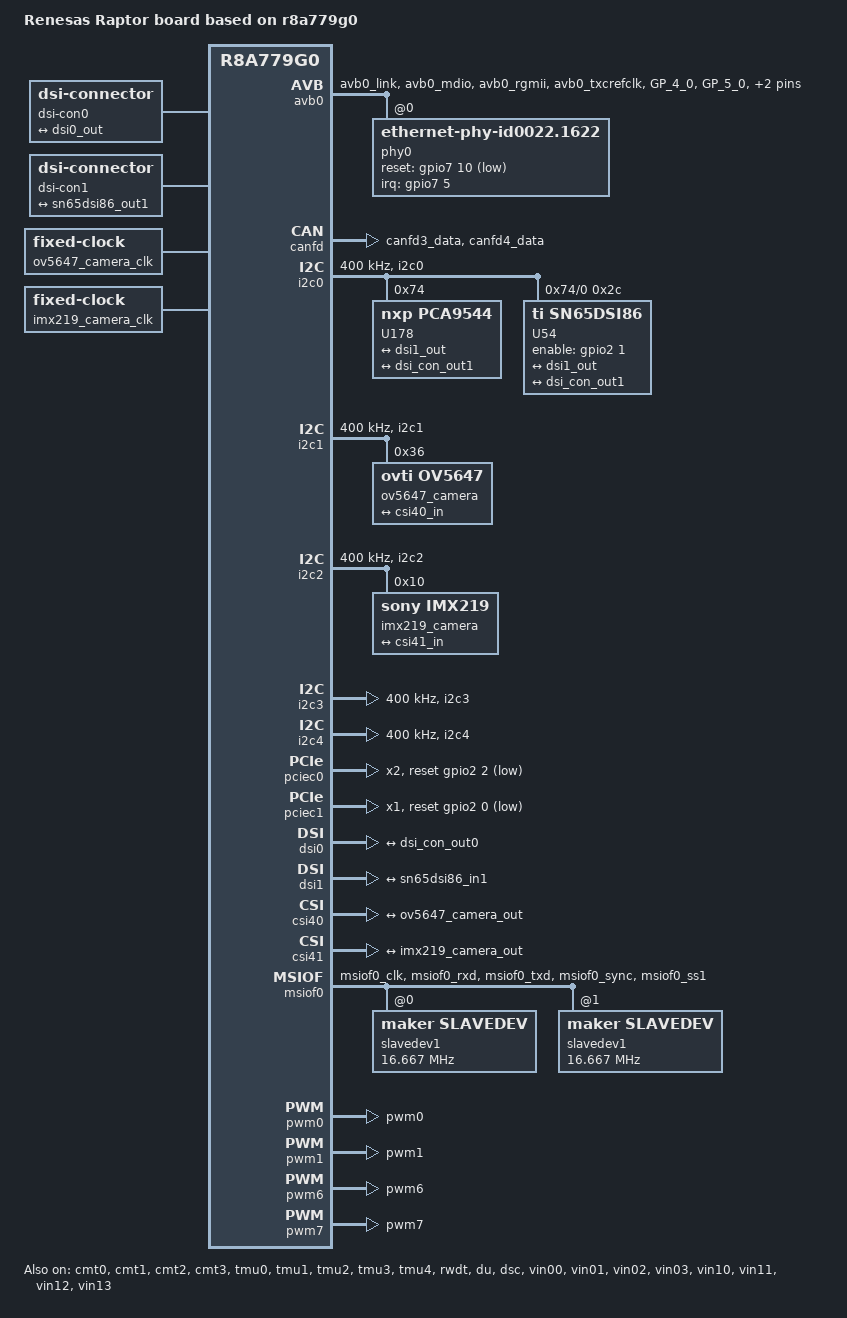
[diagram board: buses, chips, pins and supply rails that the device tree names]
// SPDX-License-Identifier: GPL-2.0
/*
 * Device Tree Source for the SBC boards with R-Car V4H
 *
 * Copyright (C) 2021 Renesas Electronics Corp.
 */

/dts-v1/;
#include "r8a779g0-sbc-cpu.dtsi"
#include <dt-bindings/media/r8a779g0-csi2.h>

/ {
	model = "Renesas Raptor board based on r8a779g0";
	compatible = "renesas,raptor-cpu", "renesas,r8a779g0";

	aliases {
		ethernet0 = &avb0;
	};

	reserved-memory {
		#address-cells = <2>;
		#size-cells = <2>;
		ranges;

		vdsp0_region: linux,vdsp0_region@5d000000 {
			compatible = "shared-dma-pool";
			reusable;
			reg = <0x00000000 0x5d000000 0x0 0x00800000>;
		};

		vdsp1_region: linux,vdsp1_region@5d800000 {
			compatible = "shared-dma-pool";
			reusable;
			reg = <0x00000000 0x5d800000 0x0 0x00800000>;
		};

		vdsp2_region: linux,vdsp2_region@5e000000 {
			compatible = "shared-dma-pool";
			reusable;
			reg = <0x00000000 0x5e000000 0x0 0x00800000>;
		};

		vdsp3_region: linux,vdsp3_region@5e800000 {
			compatible = "shared-dma-pool";
			reusable;
			reg = <0x00000000 0x5e800000 0x0 0x00800000>;
		};

		pap_region: linux,pap_region@5f000000 {
			compatible = "shared-dma-pool";
			reusable;
			reg = <0x00000000 0x5f000000 0x0 0x00400000>;
		};

		/* region for cr core application */
		cr_region: linux,cr_region@60000000 {
			no-map;
			reg = <0x00000000 0x60000000 0x0 0x20000000>;
		};

		/* global autoconfigured region for contiguous allocations */
		linux,cma@80000000 {
			compatible = "shared-dma-pool";
			reusable;
			reg = <0x00000000 0x80000000 0x0 0x23000000>;
			linux,cma-default;
		};

		region_40bit: linux,region_40bit@600000000 {
			compatible = "shared-dma-pool";
			reusable;
			reg = <0x6 0x00000000 0x0 0x40000000>;
		};
	};

	dsi-con0 {
		compatible = "dsi-connector";

		port {
			dsi_con_out0: endpoint {
			remote-endpoint = <&dsi0_out>;
			};
		};
	};

	dsi-con1 {
		compatible = "dsi-connector";

		port {
			dsi_con_out1: endpoint {
			remote-endpoint = <&sn65dsi86_out1>;
			};
		};
	};

	cmem {
		memory-region = <&vdsp0_region>, <&vdsp1_region>,
				<&vdsp2_region>, <&vdsp3_region>,
				<&pap_region>, <&region_40bit>;
	};
	
	ov5647_camera_clk: camera_clk {
		compatible = "fixed-clock";
		#clock-cells = <0>;
		clock-frequency = <25000000>;
		clock-output-names = "xclk";
	};
	
	imx219_camera_clk: imx219_camera_clk {
		compatible = "fixed-clock";
		#clock-cells = <0>;
		clock-frequency = <24000000>;
		clock-output-names = "xclk";
	};
};

&pfc {
	vddq_eth_pins: vddq_eth {
		pins_pwr {
			pins = "GP_4_0", "GP_5_0", "GP_6_0","GP_7_0";
			power-source = <3300>;
		};
	};

	avb0_pins: avb0 {
		mux {
			groups = "avb0_link", "avb0_mdio", "avb0_rgmii",
				 "avb0_txcrefclk";
			function = "avb0";
		};

		pins_mdio {
			groups = "avb0_mdio";
			drive-strength = <21>;
		};

		pins_mii {
			groups = "avb0_rgmii";
			drive-strength = <21>;
		};

	};

	i2c0_pins: i2c0 {
		groups = "i2c0";
		function = "i2c0";
	};
	
	i2c1_pins: i2c1 {
		groups = "i2c1";
		function = "i2c1";
	};
	
	i2c2_pins: i2c2 {
		groups = "i2c2";
		function = "i2c2";
	};
	
	i2c3_pins: i2c3 {
		groups = "i2c3";
		function = "i2c3";
	};

	i2c4_pins: i2c4 {
		groups = "i2c4";
		function = "i2c4";
	};


	canfd3_pins: canfd3 {
		groups = "canfd3_data";
		function = "canfd3";
	};

	canfd4_pins: canfd4 {
		groups = "canfd4_data";
		function = "canfd4";
	};
	
	msiof0_pins: msiof0 {
		groups = "msiof0_clk", "msiof0_rxd", "msiof0_txd", "msiof0_sync", "msiof0_ss1";
		function = "msiof0";
 	};
 	
	pwm0_pins: pwm0grp {
		groups = "pwm0";
		function = "pwm0";
	};
	
	pwm1_pins: pwm1grp {
		groups = "pwm1";
		function = "pwm1";
	};
	
	pwm6_pins: pwm6grp {
		groups = "pwm6";
		function = "pwm6";
	};
	
	pwm7_pins: pwm7grp {
		groups = "pwm7";
		function = "pwm7";
	};
};

/*
 * Ethernet Function
 */
&avb0 {
	pinctrl-0 = <&avb0_pins>, <&vddq_eth_pins>;
	pinctrl-names = "default";
	phy-handle = <&phy0>;
	tx-internal-delay-ps = <2000>;
	status = "okay";

	phy0: ethernet-phy@0 {
		compatible = "ethernet-phy-id0022.1622",
			     "ethernet-phy-ieee802.3-c22";
		rxc-skew-ps = <1500>;
		reg = <0>;
		interrupt-parent = <&gpio7>;
		interrupts = <5 IRQ_TYPE_LEVEL_LOW>;
		reset-gpios = <&gpio7 10 GPIO_ACTIVE_LOW>;
	};
};

/*
 * CANFD Function :
 * enable canfd channel 3,4
 */
&canfd {
	pinctrl-0 = <&canfd3_pins>, <&canfd4_pins>;
		pinctrl-names = "default";
		//renesas,no-can-fd;
	status = "okay";

	channel3 {
		status = "okay";
	};

	channel4 {
		status = "okay";
	};
};

&cmt0 {
	status = "okay";
};

&cmt1 {
	status = "okay";
};

&cmt2 {
	status = "okay";
};

&cmt3 {
	status = "okay";
};

&tmu0 {
	status = "okay";
};

&tmu1 {
	status = "okay";
};

&tmu2 {
	status = "okay";
};

&tmu3 {
	status = "okay";
};

&tmu4 {
	status = "okay";
};

&rwdt {
	timeout-sec = <60>;
	status = "okay";
};

/*
 * I2C0 Function :
 * define multiplexer each channel's entry
 */
&i2c0 {
	pinctrl-0 = <&i2c0_pins>;
	pinctrl-names = "default";

	status = "okay";
	clock-frequency = <400000>;
	
	U178: i2c0-switch@74 {
		compatible = "nxp,pca9544";
		#address-cells = <1>;
		#size-cells = <0>;
		reg = <0x74>;
//		reset-gpios = <&gpio3 15 GPIO_ACTIVE_LOW>;

		i2c0_switch_ch0: i2c@0 {
			#address-cells = <1>;
			#size-cells = <0>;
			reg = <0>;
		};
		
		i2c0_switch_ch1: i2c@1 {
			#address-cells = <1>;
			#size-cells = <0>;
			reg = <1>;
		};
		
		i2c0_switch_ch2: i2c@2 {
			#address-cells = <1>;
			#size-cells = <0>;
			reg = <2>;
		};
		
		i2c0_switch_ch3: i2c@3 {
			#address-cells = <1>;
			#size-cells = <0>;
			reg = <3>;
		};		
	};
};

&i2c0_switch_ch0 {
	U54: sn65dsi86@2c {
		compatible = "ti,sn65dsi86";
		reg = <0x2c>;
		dp-connector;
		clocks = <&ref_clk>;
		clock-names = "refclk";
//		no-use-gpio;
		no-use-scramble;
		hpd-poll;
		enable-gpios = <&gpio2 1 GPIO_ACTIVE_HIGH>;
		status = "okay";

		ports {
			#address-cells = <1>;
			#size-cells = <0>;

			port@0 {
				reg = <0>;
				sn65dsi86_in1: endpoint {
					remote-endpoint = <&dsi1_out>;
				};
			};

			port@1 {
				reg = <1>;
				sn65dsi86_out1: endpoint {
					remote-endpoint = <&dsi_con_out1>;
				};
			};
		};
	};
};

/*
 * I2C1 Function :
 * enable i2c1 -> J1 (RPi camera)
 */
&i2c1 {
	pinctrl-0 = <&i2c1_pins>;
	pinctrl-names = "default";

	status = "okay";
	clock-frequency = <400000>;
	
	ov5647_camera: ov5647@36 {
		compatible = "ovti,ov5647";
		reg = <0x36>;
		clocks = <&ov5647_camera_clk>;

		port@0 {
			ov5647_camera_out: endpoint {
				clock-lanes = <0>;
				data-lanes = <1 2>;
				remote-endpoint = <&csi40_in>;
			};
		};
	};
};

/*
 * I2C2 Function :
 * enable i2c2 -> J2 (RPi camera)
 */
&i2c2 {
	pinctrl-0 = <&i2c2_pins>;
	pinctrl-names = "default";

	status = "okay";
	clock-frequency = <400000>;
	
	imx219_camera: imx219@10 {
		compatible = "sony,imx219";
		reg = <0x10>;
		clocks = <&imx219_camera_clk>;
		clock-names = "xclk";

		port@0 {
			imx219_camera_out: endpoint {
				clock-lanes = <0>;
				data-lanes = <1 2>;
				link-frequencies = /bits/ 64 <456000000>;
				remote-endpoint = <&csi41_in>;
			};
		};
	};
};

/*
 * I2C3 Function :
 * enable i2c3 -> CN7 (RPi 40-pins)
 */
&i2c3 {
	pinctrl-0 = <&i2c3_pins>;
	pinctrl-names = "default";

	status = "okay";
	clock-frequency = <400000>;
	
};

/*
 * I2C4 Function :
 * enable i2c4 -> CN7 (RPi 40-pins)
 */
&i2c4 {
	pinctrl-0 = <&i2c4_pins>;
	pinctrl-names = "default";

	status = "okay";
	clock-frequency = <400000>;
	
};

/*
 * PCIe Function :
 * define clk_req and lanes
 */
&pcie_bus_clk {
	clock-frequency = <100000000>;
};

&pciec0 {
	reset-gpio = <&gpio2 2 GPIO_ACTIVE_LOW>;
	num-lanes = <2>;
	
	status = "okay";
};

&pciec1 {
	reset-gpio = <&gpio2 0 GPIO_ACTIVE_LOW>;
	num-lanes = <1>;
	
	status = "okay";
};

/*
 * Display Function
 * define ref_clk, dsi0, dsi1
 * DSI0 -> J4
 * DSI1 -> SN65 -> CN6
 */
/* clock for sn65dsi86 */
&ref_clk {
	clock-frequency = <38400000>;
};

&du {
	status = "okay";
};

&dsi0 {
	status = "okay";

	use-extal-clk;

	ports {
		port@1 {
			endpoint {
				remote-endpoint = <&dsi_con_out0>;
				data-lanes = <1 2 3 4>;
			};
		};
	};
};

&dsc {
	status = "okay";
};

&dsi1 {
	status = "okay";

	use-extal-clk;

	ports {
		port@1 {
			endpoint {
				remote-endpoint = <&sn65dsi86_in1>;
				data-lanes = <1 2 3 4>;
			};
		};
	};
};

&vin00 {
	status = "okay";
};

&vin01 {
	status = "okay";
};

&vin02 {
	status = "okay";
};

&vin03 {
	status = "okay";
};

&vin10 {
	status = "okay";
};

&vin11 {
	status = "okay";
};

&vin12 {
	status = "okay";
};

&vin13 {
	status = "okay";
};

/* 
 * Camera Function
 * csi40 -> J1 (RPi camera)
 * csi41 -> J2 (RPi camera)
 */
&csi40 {
	status = "okay";

	ports {
		#address-cells = <1>;
		#size-cells = <0>;

		port@0 {
			reg = <0>;

			csi40_in: endpoint {
				clock-lanes = <0>;
				data-lanes = <1 2 3 4>;
				remote-endpoint = <&ov5647_camera_out>;
			};
		};
	};
};

&csi41 {
	status = "okay";

	ports {
		#address-cells = <1>;
		#size-cells = <0>;

		port@0 {
			reg = <0>;

			csi41_in: endpoint {
				clock-lanes = <0>;
				data-lanes = <1 2 3 4>;
				remote-endpoint = <&imx219_camera_out>;
			};
		};
	};
};

/*
 * SPI function : 
 * enable spi0 with cs0 & cs1
 */
&msiof0 {
	pinctrl-0 = <&msiof0_pins>;
	pinctrl-names = "default";
	num-cs = <2>;

	status = "okay";
 
	slavedev1@0 {
		compatible = "maker,slavedev";
		reg = <0>;
		spi-max-frequency = <16666666>;
		spi-cpha;
		spi-cpol;
	};
	
	slavedev1@1 {
		compatible = "maker,slavedev";
		reg = <1>;
		spi-max-frequency = <16666666>;
		spi-cpha;
		spi-cpol;
	};	
};

/*
 * PWM Function
 * pwm0 -> J3 (fan)
 * pwm1,6,7 -> CN7 (RPi 40-pins)
 */
&pwm0 {
	pinctrl-names = "default";
	pinctrl-0 = <&pwm0_pins>;
	status = "okay";
};

&pwm1 {
	pinctrl-names = "default";
	pinctrl-0 = <&pwm1_pins>;
	status = "okay";
};

&pwm6 {
	pinctrl-names = "default";
	pinctrl-0 = <&pwm6_pins>;
	status = "okay";
};

&pwm7 {
	pinctrl-names = "default";
	pinctrl-0 = <&pwm7_pins>;
	status = "okay";
};
